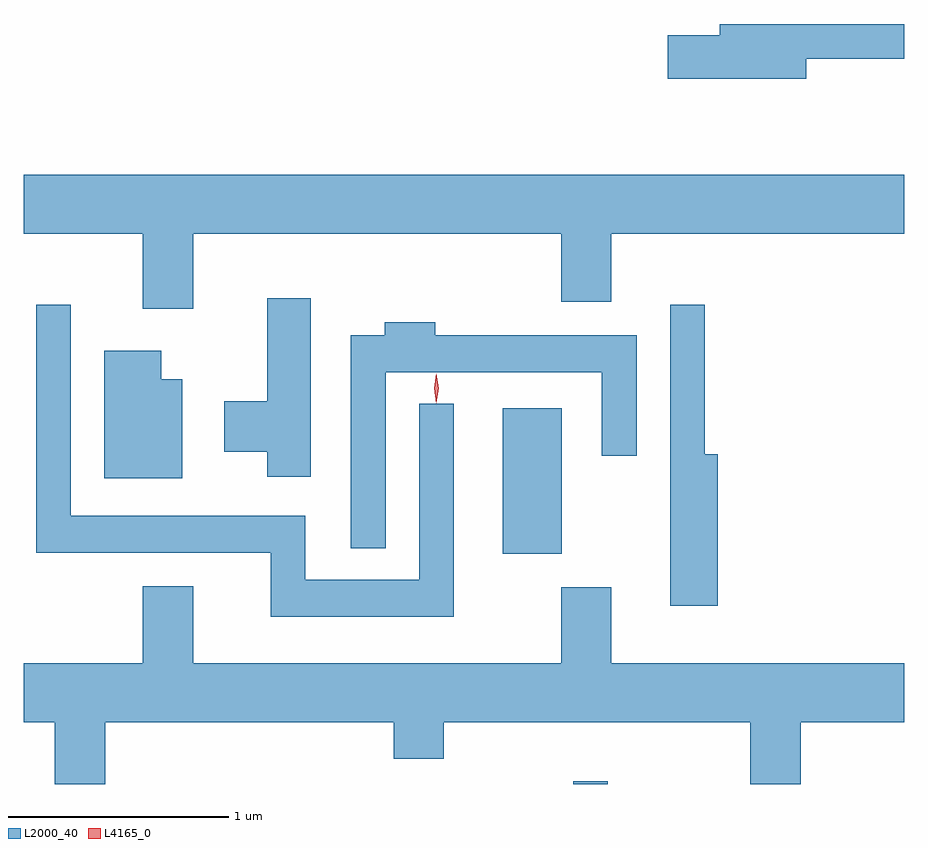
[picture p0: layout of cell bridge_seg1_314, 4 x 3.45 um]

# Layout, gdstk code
import gdstk
lib = gdstk.Library(unit=1e-6, precision=1e-09)
def R(c, l, rs):  # rectangles x0, y0, x1, y1
    for r in rs: c.add(gdstk.rectangle(r[:2], r[2:], *l))
def P(c, l, *ps):  # polygons
    for p in ps: c.add(gdstk.Polygon(p, *l))
L2000_40 = (2000, 40)
L4165_0 = (4165, 0)

bridge_seg1_314 = lib.new_cell('bridge_seg1_314')
R(bridge_seg1_314, L2000_40, [(857.896,879.316,858.054,879.328), (857.576,880.361,857.844,881.024)])
P(bridge_seg1_314, L2000_40, [(858.954,882.611),(859.4,882.611),(859.4,882.769),(858.561,882.769),(858.561,882.719),(858.326,882.719),(858.326,882.521),(858.954,882.521)],
  [(856.169,881.816),(857.841,881.816),(857.841,881.506),(858.069,881.506),(858.069,881.816),(859.4,881.816),(859.4,882.084),(855.4,882.084),(855.4,881.816),(855.941,881.816),(855.941,881.476),(856.169,881.476)],
  [(856.704,881.524),(856.506,881.524),(856.506,881.054),(856.311,881.054),(856.311,880.826),(856.506,880.826),(856.506,880.711),(856.704,880.711)],
  [(858.554,880.814),(858.494,880.814),(858.494,881.493),(858.336,881.493),(858.336,880.126),(858.554,880.126)],
  [(857.354,881.043),(857.196,881.043),(857.196,880.244),(856.679,880.244),(856.679,880.534),(855.614,880.534),(855.614,881.493),(855.456,881.493),(855.456,880.366),(856.521,880.366),(856.521,880.076),(857.354,880.076)],
  [(857.044,881.186),(858.026,881.186),(858.026,880.808),(858.184,880.808),(858.184,881.354),(857.269,881.354),(857.269,881.414),(857.041,881.414),(857.041,881.354),(856.886,881.354),(856.886,880.388),(857.044,880.388)],
  [(856.119,881.154),(856.024,881.154),(856.024,881.284),(855.766,881.284),(855.766,880.706),(856.119,880.706)],
  [(855.769,879.596),(857.081,879.596),(857.081,879.431),(857.309,879.431),(857.309,879.596),(858.701,879.596),(858.701,879.316),(858.929,879.316),(858.929,879.596),(859.4,879.596),(859.4,879.864),(858.069,879.864),(858.069,880.209),(857.841,880.209),(857.841,879.864),(856.169,879.864),(856.169,880.214),(855.941,880.214),(855.941,879.864),(855.4,879.864),(855.4,879.596),(855.541,879.596),(855.541,879.316),(855.769,879.316)])
P(bridge_seg1_314, L4165_0, [(857.274,881.047),(857.265,881.114),(857.274,881.18),(857.275,881.181),(857.275,881.18),(857.285,881.114),(857.275,881.047),(857.275,881.047)])

lib.write_gds('bridge_seg1_314.gds')
